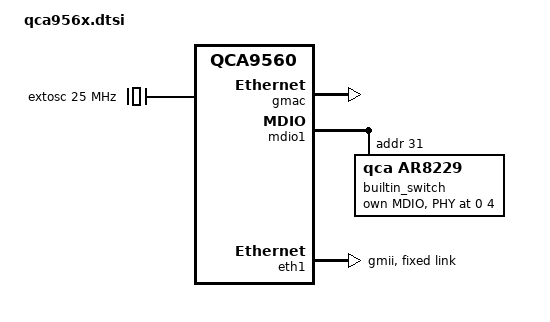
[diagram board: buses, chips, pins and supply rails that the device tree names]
// SPDX-License-Identifier: GPL-2.0-or-later OR MIT
#include <dt-bindings/clock/ath79-clk.h>
#include "ath79.dtsi"

/ {
	compatible = "qca,qca9560";

	#address-cells = <1>;
	#size-cells = <1>;

	cpus {
		#address-cells = <1>;
		#size-cells = <0>;

		cpu@0 {
			device_type = "cpu";
			compatible = "mips,mips74Kc";
			clocks = <&pll ATH79_CLK_CPU>;
			reg = <0>;
		};
	};

	extosc: ref {
		compatible = "fixed-clock";
		#clock-cells = <0>;
		clock-output-names = "ref";
		clock-frequency = <25000000>;
	};

	ahb {
		apb {
			ddr_ctrl: memory-controller@18000000 {
				compatible = "qca,qca9560-ddr-controller",
						"qca,ar7240-ddr-controller";
				reg = <0x18000000 0x100>;

				#qca,ddr-wb-channel-cells = <1>;
			};

			uart: uart@18020000 {
				compatible = "ns16550a";
				reg = <0x18020000 0x20>;

				interrupts = <3>;

				clocks = <&pll ATH79_CLK_REF>;
				clock-names = "uart";

				reg-io-width = <4>;
				reg-shift = <2>;
				no-loopback-test;

				status = "disabled";
			};

			gpio: gpio@18040000 {
				compatible = "qca,qca9560-gpio",
						"qca,ar9340-gpio";
				reg = <0x18040000 0x28>;

				interrupts = <2>;
				ngpios = <24>;

				gpio-controller;
				#gpio-cells = <2>;

				interrupt-controller;
				#interrupt-cells = <2>;
			};

			pinmux: pinmux@1804002c {
				compatible = "pinctrl-single";

				reg = <0x1804002c 0x44>;

				#size-cells = <0>;

				pinctrl-single,bit-per-mux;
				pinctrl-single,register-width = <32>;
				pinctrl-single,function-mask = <0x1>;
				#pinctrl-cells = <2>;

				jtag_disable_pins: pinmux_jtag_disable_pins {
					pinctrl-single,bits = <0x40 0x2 0x2>;
				};
			};

			pll: pll-controller@18050000 {
				compatible = "qca,qca9560-pll", "syscon";
				reg = <0x18050000 0x50>;

				#clock-cells = <1>;
				clock-output-names = "cpu", "ddr", "ahb";

				clocks = <&extosc>;
			};

			wdt: wdt@18060008 {
				compatible = "qca,ar7130-wdt";
				reg = <0x18060008 0x8>;

				interrupts = <4>;

				clocks = <&pll ATH79_CLK_AHB>;
				clock-names = "wdt";
			};

			rst: reset-controller@1806001c {
				compatible = "qca,qca9560-reset",
						"qca,ar7100-reset";
				reg = <0x1806001c 0x4>;

				#reset-cells = <1>;
				interrupt-parent = <&cpuintc>;

				intc3: interrupt-controller {
					compatible = "qca,ar9340-intc";

					interrupt-parent = <&cpuintc>;
					interrupts = <3>;

					interrupt-controller;
					#interrupt-cells = <1>;

					qca,int-status-addr = <0xac>;
					qca,pending-bits = <0x1f000>,		/* pcie rc */
							    <0x1000000>,	/* usb1 */
							    <0x10000000>;	/* usb2 */
				};
			};

			rst2: reset-controller@180600c0 {
				compatible = "qca,qca9560-reset",
						"qca,ar7100-reset",
						 "simple-bus";
				reg = <0x180600c0 0x4>;

				#reset-cells = <1>;
			};
		};

		gmac: gmac@18070000 {
			compatible = "qca,qca9560-gmac";
			reg = <0x18070000 0x64>;
		};

		wmac: wmac@18100000 {
			compatible = "qca,qca9560-wmac";
			reg = <0x18100000 0x10000>;

			interrupt-parent = <&cpuintc>;
			interrupts = <2>;

			status = "disabled";
		};

		pcie: pcie-controller@18250000 {
			compatible = "qcom,ar7240-pci";
			#address-cells = <3>;
			#size-cells = <2>;
			bus-range = <0x0 0x0>;
			reg = <0x18250000 0x1000>, /* CRP */
			      <0x18280000 0x100>,  /* CTRL */
			      <0x16000000 0x1000>; /* CFG */
			reg-names = "crp_base", "ctrl_base", "cfg_base";
			ranges = <0x2000000 0 0x12000000 0x12000000 0 0x02000000	/* pci memory */
				  0x1000000 0 0x00000000 0x0000000 0 0x000001>;		/* io space */
			interrupt-parent = <&intc3>;
			interrupts = <0>;

			interrupt-controller;
			#interrupt-cells = <1>;

			interrupt-map-mask = <0 0 0 1>;
			interrupt-map = <0 0 0 0 &pcie 0>;
			status = "disabled";
		};

		usb0: usb@1b000000 {
			compatible = "generic-ehci";
			reg = <0x1b000000 0x1d8>;

			interrupt-parent = <&intc3>;
			interrupts = <1>;

			resets = <&rst 5>;
			reset-names = "usb-host";

			has-transaction-translator;
			caps-offset = <0x100>;

			phy-names = "usb-phy0";
			phys = <&usb_phy0>;

			status = "disabled";
		};

		usb1: usb@1b400000 {
			compatible = "generic-ehci";
			reg = <0x1b400000 0x1d8>;

			interrupt-parent = <&intc3>;
			interrupts = <2>;

			resets = <&rst2 5>;
			reset-names = "usb-host";

			has-transaction-translator;
			caps-offset = <0x100>;

			phy-names = "usb-phy1";
			phys = <&usb_phy1>;

			status = "disabled";
		};

		spi: spi@1f000000 {
			compatible = "qca,ar934x-spi";
			reg = <0x1f000000 0x1c>;

			clocks = <&pll ATH79_CLK_AHB>;

			status = "disabled";

			#address-cells = <1>;
			#size-cells = <0>;
		};
	};

	usb_phy0: usb-phy {
		compatible = "qca,qca9560-usb-phy", "qca,ar7200-usb-phy";

		reset-names = "usb-phy", "usb-suspend-override";
		resets = <&rst 4>, <&rst 3>;

		#phy-cells = <0>;

		status = "disabled";
	};

	usb_phy1: usb-phy {
		compatible = "qca,qca9560-usb-phy", "qca,ar7200-usb-phy";

		reset-names = "usb-phy", "usb-suspend-override";
		resets = <&rst2 4>, <&rst2 3>;

		#phy-cells = <0>;

		status = "disabled";
	};
};

&mdio0 {
	resets = <&rst 22>;
	reset-names = "mdio";
};

&eth0 {
	compatible = "qca,qca9560-eth", "syscon";

	pll-data = <0x03000000 0x00000101 0x00001919>;
	pll-reg = <0 0x48 0>;
	pll-handle = <&pll>;

	resets = <&rst 9>;
	reset-names = "mac";
};

&mdio1 {
	status = "okay";
	resets = <&rst 23>;
	reset-names = "mdio";
	builtin-switch;

	builtin_switch: switch0@1f {
		compatible = "qca,ar8229";
		reg = <0x1f>;
		resets = <&rst 8>;
		reset-names = "switch";
		phy-mode = "gmii";
		qca,phy4-mii-enable;
		qca,mib-poll-interval = <500>;

		mdio-bus {
			#address-cells = <1>;
			#size-cells = <0>;

			swphy0: ethernet-phy@0 {
				reg = <0>;
				phy-mode = "mii";
			};

			swphy4: ethernet-phy@4 {
				reg = <4>;
				phy-mode = "mii";
			};
		};
	};
};

&eth1 {
	compatible = "qca,qca9560-eth", "syscon";

	phy-mode = "gmii";

	resets = <&rst 13>;
	reset-names = "mac";

	fixed-link {
		speed = <1000>;
		full-duplex;
	};
};
